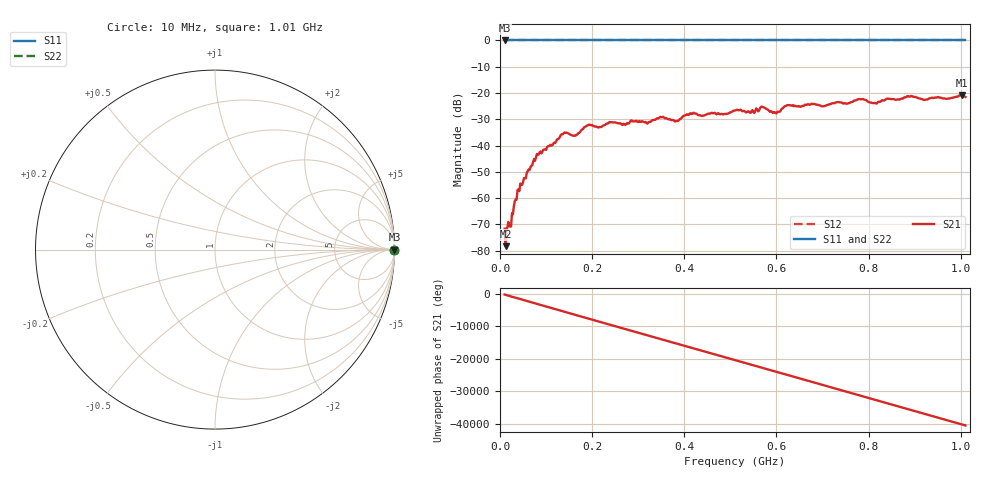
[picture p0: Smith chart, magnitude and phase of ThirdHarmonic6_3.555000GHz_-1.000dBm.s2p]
! 8/17/2025 11:44:41 AM
! C:\ANRITSUVNA\TEMP\TEMP.S2P
! CHANNEL.1
! TR.MEASUREMENT
! RAW.DATA
! RF.CORRECTION.OFF
! AVERAGING.OFF
! IF.BANDWIDTH: 5KHZ
! SWEEPTYPE:  FREQ.SWEEP(Linear)
! Reference Plane Port Info
! PORT:  PORT1  PORT2
! DISTANCE:  0  m  0  m
! TIME:  0  s  0  s
! PHASE.OFFSET:  0  deg.  0  deg.
! LOSS:  0  dB  0  dB
! REF.LOSS:  0  dB  0  dB
! REF.FREQ:  0  Hz  0  Hz
! Power Info
! POWER:  -20  dBm  -20  dBm
! EFF.POWER:  -20  dBm  -20  dBm
! SOURCE.ATTEN:  0  dB  0  dB
! TEST.ATTEN:  0  dB  0  dB
# GHZ S RI R 50.0
! FREQ.GHZ  S11RE  S11IM  S21RE  S21IM  S12RE  S12IM  S22RE  S22IM
!; PortSelection: Port_12
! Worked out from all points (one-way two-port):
!   501 points, 10 MHz to 1.01 GHz, reference 50 ohm
!   highest |S21| = -20.81 dB at 1.002 GHz (marker M1); lowest = -78.3 dB at 12 MHz (marker M2)
!   lowest |S11| = 0.0 dB at 10 MHz (marker M3)
!   |S11| at or under -10 dB: nowhere
!   |S22| runs from 0.0 to 0.0 dB; largest |S21 - S12| = 1.1
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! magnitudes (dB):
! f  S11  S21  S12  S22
! 10 MHz  0.0  -71.6  0.0  0.0
! 12 MHz  0.0  -78.3  0.0  0.0
! 24 MHz  0.0  -70.8  0.0  0.0
! 42 MHz  0.0  -57.3  0.0  0.0
! 82 MHz  0.0  -43.6  0.0  0.0
! 136 MHz  0.0  -35.7  0.0  0.0
! 162 MHz  0.0  -36.1  0.0  0.0
! 178 MHz  0.0  -33.9  0.0  0.0
! 192 MHz  0.0  -32.1  0.0  0.0
! 322 MHz  0.0  -31.2  0.0  0.0
! 344 MHz  0.0  -29.7  0.0  0.0
! 384 MHz  0.0  -30.7  0.0  0.0
! 416 MHz  0.0  -28.0  0.0  0.0
! 510 MHz  0.0  -26.6  0.0  0.0
! 548 MHz  0.0  -26.5  0.0  0.0
! 570 MHz  0.0  -25.3  0.0  0.0
! 596 MHz  0.0  -27.3  0.0  0.0
! 624 MHz  0.0  -24.6  0.0  0.0
! 678 MHz  0.0  -24.2  0.0  0.0
! 844 MHz  0.0  -22.2  0.0  0.0
! 1.002 GHz  0.0  -20.8  0.0  0.0
! 1.01 GHz  0.0  -21.5  0.0  0.0
